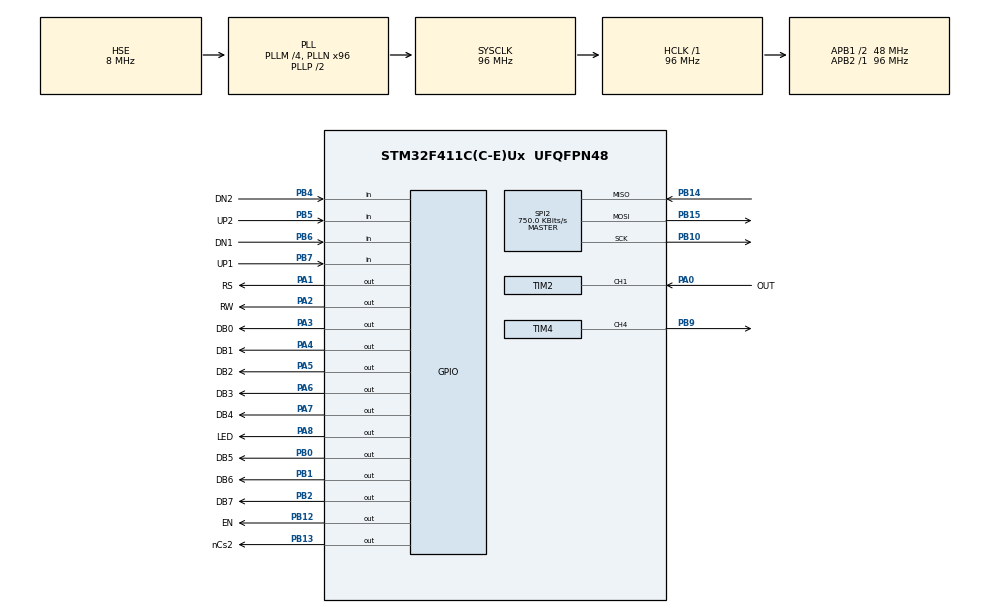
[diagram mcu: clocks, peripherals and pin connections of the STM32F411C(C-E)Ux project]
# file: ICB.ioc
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Mcu.Family=STM32F4
Mcu.Name=STM32F411C(C-E)Ux
Mcu.Package=UFQFPN48
NVIC.PriorityGroup=NVIC_PRIORITYGROUP_4
NVIC.RCC_IRQn=true\:0\:0\:false\:false\:true\:true\:false\:true
NVIC.SPI2_IRQn=true\:0\:0\:false\:false\:true\:true\:true\:true
NVIC.TIM2_IRQn=true\:0\:0\:false\:false\:true\:true\:true\:true
NVIC.TIM4_IRQn=true\:0\:0\:false\:false\:true\:true\:true\:true
PA0-WKUP.GPIO_Label=OUT
PA0-WKUP.Signal=S_TIM2_CH1_ETR
PA1.GPIO_Label=RS
PA1.Signal=GPIO_Output
PA13.Mode=Trace_Asynchronous_SW
PA13.Signal=SYS_JTMS-SWDIO
PA14.Mode=Trace_Asynchronous_SW
PA14.Signal=SYS_JTCK-SWCLK
PA2.GPIO_Label=RW
PA2.Signal=GPIO_Output
PA3.GPIO_Label=DB0
PA3.Signal=GPIO_Output
PA4.GPIO_Label=DB1
PA4.Signal=GPIO_Output
PA5.GPIO_Label=DB2
PA5.Signal=GPIO_Output
PA6.GPIO_Label=DB3
PA6.Signal=GPIO_Output
PA7.GPIO_Label=DB4
PA7.Signal=GPIO_Output
PA8.GPIO_Label=LED
PA8.Signal=GPIO_Output
PB0.GPIO_Label=DB5
PB0.Signal=GPIO_Output
PB1.GPIO_Label=DB6
PB1.Signal=GPIO_Output
PB10.Mode=Full_Duplex_Master
PB10.Signal=SPI2_SCK
PB12.GPIO_Label=EN
PB12.GPIO_Speed=GPIO_SPEED_FREQ_MEDIUM
PB12.PinState=GPIO_PIN_RESET
PB12.Signal=GPIO_Output
PB13.GPIO_Label=nCs2
PB13.PinState=GPIO_PIN_SET
PB13.Signal=GPIO_Output
PB14.Mode=Full_Duplex_Master
PB14.Signal=SPI2_MISO
PB15.Mode=Full_Duplex_Master
PB15.Signal=SPI2_MOSI
PB2.GPIO_Label=DB7
PB2.Signal=GPIO_Output
PB3.Mode=Trace_Asynchronous_SW
PB3.Signal=SYS_JTDO-SWO
PB4.GPIO_Label=DN2
PB4.Signal=GPIO_Input
PB5.GPIO_Label=UP2
PB5.Signal=GPIO_Input
PB6.GPIO_Label=DN1
PB6.Signal=GPIO_Input
PB7.GPIO_Label=UP1
PB7.Signal=GPIO_Input
PB9.GPIO_Speed=GPIO_SPEED_FREQ_VERY_HIGH
PB9.Signal=S_TIM4_CH4
PH0\ -\ OSC_IN.Mode=HSE-External-Oscillator
PH0\ -\ OSC_IN.Signal=RCC_OSC_IN
PH1\ -\ OSC_OUT.Mode=HSE-External-Oscillator
PH1\ -\ OSC_OUT.Signal=RCC_OSC_OUT
ProjectManager.HeapSize=0x200
ProjectManager.StackSize=0x400
ProjectManager.TargetToolchain=STM32CubeIDE
RCC.48MHZClocksFreq_Value=48000000
RCC.AHBFreq_Value=96000000
RCC.APB1CLKDivider=RCC_HCLK_DIV2
RCC.APB1Freq_Value=48000000
RCC.APB1TimFreq_Value=96000000
RCC.APB2Freq_Value=96000000
RCC.APB2TimFreq_Value=96000000
RCC.CortexFreq_Value=96000000
RCC.HCLKFreq_Value=96000000
RCC.HSE_VALUE=8000000
RCC.HSI_VALUE=16000000
RCC.LSE_VALUE=32768
RCC.PLLM=4
RCC.PLLN=96
RCC.PLLSourceVirtual=RCC_PLLSOURCE_HSE
RCC.SYSCLKFreq_VALUE=96000000
RCC.SYSCLKSource=RCC_SYSCLKSOURCE_PLLCLK
RCC.VCOOutputFreq_Value=192000000
SH.S_TIM2_CH1_ETR.0=TIM2_CH1,Input_Capture1_from_TI1
SH.S_TIM4_CH4.0=TIM4_CH4,PWM Generation4 CH4
SPI2.BaudRatePrescaler=SPI_BAUDRATEPRESCALER_64
SPI2.CLKPhase=SPI_PHASE_2EDGE
SPI2.CLKPolarity=SPI_POLARITY_HIGH
SPI2.CalculateBaudRate=750.0 KBits/s
SPI2.Direction=SPI_DIRECTION_2LINES
SPI2.Mode=SPI_MODE_MASTER
SPI2.VirtualType=VM_MASTER
TIM2.Channel-Input_Capture1_from_TI1=TIM_CHANNEL_1
TIM4.Channel-PWM\ Generation4\ CH4=TIM_CHANNEL_4
TIM4.OC4Preload_PWM=ENABLE
TIM4.Period=9999
TIM4.Prescaler=9599
TIM4.Pulse-PWM\ Generation4\ CH4=500
VP_TIM2_VS_ClockSourceINT.Mode=Internal
board=custom

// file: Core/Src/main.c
/* USER CODE BEGIN Header */
/**
  ******************************************************************************
  * @file           : main.c
  * @brief          : Main program body
  ******************************************************************************
  * @attention
  *
  * Copyright (c) 2026 STMicroelectronics.
  * All rights reserved.
  *
  * This software is licensed under terms that can be found in the LICENSE file
  * in the root directory of this software component.
  * If no LICENSE file comes with this software, it is provided AS-IS.
  *
  ******************************************************************************
  */
/* USER CODE END Header */
#include "main.h"

/* USER CODE BEGIN Includes */
#include "LCD.h"
#include <math.h>
#include <stdio.h>
/* USER CODE END Includes */

SPI_HandleTypeDef hspi2;

TIM_HandleTypeDef htim2;
TIM_HandleTypeDef htim4;

/* USER CODE BEGIN PV */
uint8_t en_sd[4] = {0x34, 0x00, 0x00, 0x01};
uint8_t V_MIN[4]    = {0b00000100, 0b00000000, 0b00000000, 0b00000100};
uint8_t V_MAX[4]    = {0b00000110, 0b00000000, 0b00000000, 0b10000000};
uint8_t PR_DIV[4]   = {0b00011000, 0b00000000, 0b00100010, 0b00000000};
uint8_t A_MAX[4]    = {0b00001100, 0b00000000, 0b00000000, 0b00100000};
uint8_t V_TAR[4] = {0b00001000,0b00000000,0b00000000,0b00100000};
uint8_t ref_con[4] = {0b00010100,0b00000000,0b00000011,0b00000010};

// +128
uint8_t V_TARU_1[2] = {0b00001000, 0b00000000};
uint8_t V_TARU_2[2] = {0b00000000, 0b10000000};

// -128
uint8_t V_TARD_1[2] = {0b00001000, 0b00000000};
uint8_t V_TARD_2[2] = {0b00001111, 0b10000000};

uint8_t V_ACT_1[4] = {0b00001001,0b00000000,0b00000000,0b00000000};
uint8_t V_ACT_R[4];

uint8_t V_old;
uint8_t count = 0;

uint8_t dir = 0;

LCD_param_t LCD = {RS_GPIO_Port,RS_Pin,EN_GPIO_Port,EN_Pin,RW_GPIO_Port,RW_Pin,DB0_GPIO_Port,DB0_Pin,
		DB1_GPIO_Port,DB1_Pin,DB2_GPIO_Port,DB2_Pin,DB3_GPIO_Port,DB3_Pin,DB4_GPIO_Port,DB4_Pin,
		DB5_GPIO_Port,DB5_Pin,DB6_GPIO_Port,DB6_Pin,DB7_GPIO_Port,DB7_Pin};

char digs[5];

uint8_t test;

uint32_t loop = 0;

volatile uint32_t val1 = 0;
volatile uint32_t val2 = 0;
volatile uint32_t pulse_width = 0;
volatile uint8_t is_rising_edge = 1;
float pulse_raw;

/* USER CODE END PV */

void SystemClock_Config(void);
static void MX_GPIO_Init(void);
static void MX_SPI2_Init(void);
static void MX_TIM4_Init(void);
static void MX_TIM2_Init(void);

int main(void)
{

  /* MCU Configuration--------------------------------------------------------*/

  /* Reset of all peripherals, Initializes the Flash interface and the Systick. */
  HAL_Init();

  /* Configure the system clock */
  SystemClock_Config();

  /* Initialize all configured peripherals */
  MX_GPIO_Init();
  MX_SPI2_Init();
  MX_TIM4_Init();
  MX_TIM2_Init();
  /* USER CODE BEGIN 2 */

  HAL_TIM_PWM_Start(&htim4, TIM_CHANNEL_4);

  /* Set V_MIN */
  HAL_GPIO_WritePin(nCs2_GPIO_Port,nCs2_Pin,GPIO_PIN_RESET);
  HAL_SPI_Transmit(&hspi2,V_MIN,4,1);
  HAL_GPIO_WritePin(nCs2_GPIO_Port,nCs2_Pin,GPIO_PIN_SET);

  /* Set V_MAX */
  HAL_GPIO_WritePin(nCs2_GPIO_Port,nCs2_Pin,GPIO_PIN_RESET);
  HAL_SPI_Transmit(&hspi2,V_MAX,4,1);
  HAL_GPIO_WritePin(nCs2_GPIO_Port,nCs2_Pin,GPIO_PIN_SET);

  /* Set PULSE_DIV / RAMP_DIV */
  HAL_GPIO_WritePin(nCs2_GPIO_Port,nCs2_Pin,GPIO_PIN_RESET);
  HAL_SPI_Transmit(&hspi2,PR_DIV,4,1);
  HAL_GPIO_WritePin(nCs2_GPIO_Port,nCs2_Pin,GPIO_PIN_SET);

  /* Set A_MAX */
  HAL_GPIO_WritePin(nCs2_GPIO_Port,nCs2_Pin,GPIO_PIN_RESET);
  HAL_SPI_Transmit(&hspi2,A_MAX,4,1);
  HAL_GPIO_WritePin(nCs2_GPIO_Port,nCs2_Pin,GPIO_PIN_SET);

  /* Set reference switch configuration and velocity mode */
  HAL_GPIO_WritePin(nCs2_GPIO_Port,nCs2_Pin,GPIO_PIN_RESET);
  HAL_SPI_Transmit(&hspi2,ref_con,4,1);
  HAL_GPIO_WritePin(nCs2_GPIO_Port,nCs2_Pin,GPIO_PIN_SET);

  /* Enable Step/Dir output */
  HAL_GPIO_WritePin(nCs2_GPIO_Port,nCs2_Pin,GPIO_PIN_RESET);
  HAL_SPI_Transmit(&hspi2,en_sd,4,1);
  HAL_GPIO_WritePin(nCs2_GPIO_Port,nCs2_Pin,GPIO_PIN_SET);

  /* Set V_TARGET */
  /*
  HAL_GPIO_WritePin(nCs2_GPIO_Port,nCs2_Pin,GPIO_PIN_RESET);
  HAL_SPI_Transmit(&hspi2,V_TAR_1,2,1);
  HAL_SPI_Transmit(&hspi2,V_TAR_2,2,1);
  HAL_GPIO_WritePin(nCs2_GPIO_Port,nCs2_Pin,GPIO_PIN_SET);
  */

HAL_GPIO_WritePin(RW_GPIO_Port,RW_Pin,GPIO_PIN_SET);

  Init(LCD);
  ClearDis(LCD);
  PutChar(LCD,'D');
  PutChar(LCD,'I');
  PutChar(LCD,'S');
  PutChar(LCD,'T');
  PutChar(LCD,'A');
  PutChar(LCD,'N');
  PutChar(LCD,'C');
  PutChar(LCD,'E');
  PutChar(LCD,':');
  PutChar(LCD,'0');
  PutChar(LCD,'0');
  PutChar(LCD,'.');
  PutChar(LCD,'0');
  PutChar(LCD,'0');
  PutChar(LCD,'i');
  PutChar(LCD,'n');
  while (count < 7) {ShiftCursor(LCD,'L'); count++;}
  count = 0;

  HAL_TIM_IC_Start_IT(&htim2, TIM_CHANNEL_1);
  /* USER CODE END 2 */

  /* Infinite loop */
  /* USER CODE BEGIN WHILE */
  while (1)
  {
	  pulse_raw = pulse_width * .0003 - 29;

	  int16_t velocity = (int16_t)(roundf(pulse_raw) * 10);
	  // Clamp to 12-bit signed range [-2047, 2047]
	  if (velocity >  2047) velocity =  2047;
	  if (velocity < -2047) velocity = -2047;

	  V_TAR[1] = 0x00;
	  V_TAR[2] = (velocity >> 8) & 0x0F;
	  V_TAR[3] = (uint8_t)(velocity & 0xFF);

	  if (V_TAR[3] != V_old){
	  HAL_GPIO_WritePin(nCs2_GPIO_Port,nCs2_Pin,GPIO_PIN_RESET);
	  HAL_SPI_Transmit(&hspi2,V_TAR,4,1);
	  HAL_GPIO_WritePin(nCs2_GPIO_Port,nCs2_Pin,GPIO_PIN_SET);
	  V_old = V_TAR[3];
	  }

	  if (loop % 10000 == 0){
		  test = (uint8_t)roundf(pulse_raw*100);
		  if(pulse_raw<1){
			  snprintf(digs,sizeof(digs),"%d",(int)roundf(pulse_raw * 100));
			  PutChar(LCD,'0');
			  PutChar(LCD,'0');
			  ShiftCursor(LCD,'R');
			  PutChar(LCD,digs[0]);
			  PutChar(LCD,digs[1]);
		  		  }
		  else if(pulse_raw<10){
		  	  snprintf(digs,sizeof(digs),"%d",(int)roundf(pulse_raw * 100));
		  	  PutChar(LCD,'0');
		  	  PutChar(LCD,digs[0]);
		  	  ShiftCursor(LCD,'R');
		  	  PutChar(LCD,digs[1]);
		  	  PutChar(LCD,digs[2]);
		  }

		  else{
			  snprintf(digs,5,"%d",(int)roundf(pulse_raw * 100));
			  PutChar(LCD,digs[0]);
			  PutChar(LCD,digs[1]);
			  ShiftCursor(LCD,'R');
			  PutChar(LCD,digs[2]);
			  PutChar(LCD,digs[3]);
		  }
		  	  while (count < 5) {ShiftCursor(LCD,'L'); count++;}
		  	  count=0;
	  }
	  loop++;

    /* USER CODE END WHILE */

  }
}

void SystemClock_Config(void)
{
  RCC_OscInitTypeDef RCC_OscInitStruct = {0};
  RCC_ClkInitTypeDef RCC_ClkInitStruct = {0};

  /** Configure the main internal regulator output voltage
  */
  __HAL_RCC_PWR_CLK_ENABLE();
  __HAL_PWR_VOLTAGESCALING_CONFIG(PWR_REGULATOR_VOLTAGE_SCALE1);

  /** Initializes the RCC Oscillators according to the specified parameters
  * in the RCC_OscInitTypeDef structure.
  */
  RCC_OscInitStruct.OscillatorType = RCC_OSCILLATORTYPE_HSE;
  RCC_OscInitStruct.HSEState = RCC_HSE_ON;
  RCC_OscInitStruct.PLL.PLLState = RCC_PLL_ON;
  RCC_OscInitStruct.PLL.PLLSource = RCC_PLLSOURCE_HSE;
  RCC_OscInitStruct.PLL.PLLM = 4;
  RCC_OscInitStruct.PLL.PLLN = 96;
  RCC_OscInitStruct.PLL.PLLP = RCC_PLLP_DIV2;
  RCC_OscInitStruct.PLL.PLLQ = 4;
  if (HAL_RCC_OscConfig(&RCC_OscInitStruct) != HAL_OK)
  {
    Error_Handler();
  }

  /** Initializes the CPU, AHB and APB buses clocks
  */
  RCC_ClkInitStruct.ClockType = RCC_CLOCKTYPE_HCLK|RCC_CLOCKTYPE_SYSCLK
                              |RCC_CLOCKTYPE_PCLK1|RCC_CLOCKTYPE_PCLK2;
  RCC_ClkInitStruct.SYSCLKSource = RCC_SYSCLKSOURCE_PLLCLK;
  RCC_ClkInitStruct.AHBCLKDivider = RCC_SYSCLK_DIV1;
  RCC_ClkInitStruct.APB1CLKDivider = RCC_HCLK_DIV2;
  RCC_ClkInitStruct.APB2CLKDivider = RCC_HCLK_DIV1;

  if (HAL_RCC_ClockConfig(&RCC_ClkInitStruct, FLASH_LATENCY_3) != HAL_OK)
  {
    Error_Handler();
  }
}

static void MX_SPI2_Init(void)
{

  /* SPI2 parameter configuration*/
  hspi2.Instance = SPI2;
  hspi2.Init.Mode = SPI_MODE_MASTER;
  hspi2.Init.Direction = SPI_DIRECTION_2LINES;
  hspi2.Init.DataSize = SPI_DATASIZE_8BIT;
  hspi2.Init.CLKPolarity = SPI_POLARITY_HIGH;
  hspi2.Init.CLKPhase = SPI_PHASE_2EDGE;
  hspi2.Init.NSS = SPI_NSS_SOFT;
  hspi2.Init.BaudRatePrescaler = SPI_BAUDRATEPRESCALER_64;
  hspi2.Init.FirstBit = SPI_FIRSTBIT_MSB;
  hspi2.Init.TIMode = SPI_TIMODE_DISABLE;
  hspi2.Init.CRCCalculation = SPI_CRCCALCULATION_DISABLE;
  hspi2.Init.CRCPolynomial = 10;
  if (HAL_SPI_Init(&hspi2) != HAL_OK)
  {
    Error_Handler();
  }

}

static void MX_TIM2_Init(void)
{

  TIM_ClockConfigTypeDef sClockSourceConfig = {0};
  TIM_MasterConfigTypeDef sMasterConfig = {0};
  TIM_IC_InitTypeDef sConfigIC = {0};

  htim2.Instance = TIM2;
  htim2.Init.Prescaler = 0;
  htim2.Init.CounterMode = TIM_COUNTERMODE_UP;
  htim2.Init.Period = 4294967295;
  htim2.Init.ClockDivision = TIM_CLOCKDIVISION_DIV1;
  htim2.Init.AutoReloadPreload = TIM_AUTORELOAD_PRELOAD_DISABLE;
  if (HAL_TIM_Base_Init(&htim2) != HAL_OK)
  {
    Error_Handler();
  }
  sClockSourceConfig.ClockSource = TIM_CLOCKSOURCE_INTERNAL;
  if (HAL_TIM_ConfigClockSource(&htim2, &sClockSourceConfig) != HAL_OK)
  {
    Error_Handler();
  }
  if (HAL_TIM_IC_Init(&htim2) != HAL_OK)
  {
    Error_Handler();
  }
  sMasterConfig.MasterOutputTrigger = TIM_TRGO_RESET;
  sMasterConfig.MasterSlaveMode = TIM_MASTERSLAVEMODE_DISABLE;
  if (HAL_TIMEx_MasterConfigSynchronization(&htim2, &sMasterConfig) != HAL_OK)
  {
    Error_Handler();
  }
  sConfigIC.ICPolarity = TIM_INPUTCHANNELPOLARITY_RISING;
  sConfigIC.ICSelection = TIM_ICSELECTION_DIRECTTI;
  sConfigIC.ICPrescaler = TIM_ICPSC_DIV1;
  sConfigIC.ICFilter = 0;
  if (HAL_TIM_IC_ConfigChannel(&htim2, &sConfigIC, TIM_CHANNEL_1) != HAL_OK)
  {
    Error_Handler();
  }

}

static void MX_TIM4_Init(void)
{

  TIM_MasterConfigTypeDef sMasterConfig = {0};
  TIM_OC_InitTypeDef sConfigOC = {0};

  htim4.Instance = TIM4;
  htim4.Init.Prescaler = 9599;
  htim4.Init.CounterMode = TIM_COUNTERMODE_UP;
  htim4.Init.Period = 9999;
  htim4.Init.ClockDivision = TIM_CLOCKDIVISION_DIV1;
  htim4.Init.AutoReloadPreload = TIM_AUTORELOAD_PRELOAD_DISABLE;
  if (HAL_TIM_PWM_Init(&htim4) != HAL_OK)
  {
    Error_Handler();
  }
  sMasterConfig.MasterOutputTrigger = TIM_TRGO_RESET;
  sMasterConfig.MasterSlaveMode = TIM_MASTERSLAVEMODE_DISABLE;
  if (HAL_TIMEx_MasterConfigSynchronization(&htim4, &sMasterConfig) != HAL_OK)
  {
    Error_Handler();
  }
  sConfigOC.OCMode = TIM_OCMODE_PWM1;
  sConfigOC.Pulse = 500;
  sConfigOC.OCPolarity = TIM_OCPOLARITY_HIGH;
  sConfigOC.OCFastMode = TIM_OCFAST_DISABLE;
  if (HAL_TIM_PWM_ConfigChannel(&htim4, &sConfigOC, TIM_CHANNEL_4) != HAL_OK)
  {
    Error_Handler();
  }
  HAL_TIM_MspPostInit(&htim4);

}

static void MX_GPIO_Init(void)
{
  GPIO_InitTypeDef GPIO_InitStruct = {0};

  /* GPIO Ports Clock Enable */
  __HAL_RCC_GPIOH_CLK_ENABLE();
  __HAL_RCC_GPIOA_CLK_ENABLE();
  __HAL_RCC_GPIOB_CLK_ENABLE();

  /*Configure GPIO pin Output Level */
  HAL_GPIO_WritePin(GPIOA, RS_Pin|RW_Pin|DB0_Pin|DB1_Pin
                          |DB2_Pin|DB3_Pin|DB4_Pin|LED_Pin, GPIO_PIN_RESET);

  /*Configure GPIO pin Output Level */
  HAL_GPIO_WritePin(GPIOB, DB5_Pin|DB6_Pin|DB7_Pin|EN_Pin, GPIO_PIN_RESET);

  /*Configure GPIO pin Output Level */
  HAL_GPIO_WritePin(nCs2_GPIO_Port, nCs2_Pin, GPIO_PIN_SET);

  /*Configure GPIO pins : RS_Pin RW_Pin DB0_Pin DB1_Pin
                           DB2_Pin DB3_Pin DB4_Pin LED_Pin */
  GPIO_InitStruct.Pin = RS_Pin|RW_Pin|DB0_Pin|DB1_Pin
                          |DB2_Pin|DB3_Pin|DB4_Pin|LED_Pin;
  GPIO_InitStruct.Mode = GPIO_MODE_OUTPUT_PP;
  GPIO_InitStruct.Pull = GPIO_NOPULL;
  GPIO_InitStruct.Speed = GPIO_SPEED_FREQ_LOW;
  HAL_GPIO_Init(GPIOA, &GPIO_InitStruct);

  /*Configure GPIO pins : DB5_Pin DB6_Pin DB7_Pin nCs2_Pin */
  GPIO_InitStruct.Pin = DB5_Pin|DB6_Pin|DB7_Pin|nCs2_Pin;
  GPIO_InitStruct.Mode = GPIO_MODE_OUTPUT_PP;
  GPIO_InitStruct.Pull = GPIO_NOPULL;
  GPIO_InitStruct.Speed = GPIO_SPEED_FREQ_LOW;
  HAL_GPIO_Init(GPIOB, &GPIO_InitStruct);

  /*Configure GPIO pin : EN_Pin */
  GPIO_InitStruct.Pin = EN_Pin;
  GPIO_InitStruct.Mode = GPIO_MODE_OUTPUT_PP;
  GPIO_InitStruct.Pull = GPIO_NOPULL;
  GPIO_InitStruct.Speed = GPIO_SPEED_FREQ_MEDIUM;
  HAL_GPIO_Init(EN_GPIO_Port, &GPIO_InitStruct);

  /*Configure GPIO pins : DN2_Pin UP2_Pin DN1_Pin UP1_Pin */
  GPIO_InitStruct.Pin = DN2_Pin|UP2_Pin|DN1_Pin|UP1_Pin;
  GPIO_InitStruct.Mode = GPIO_MODE_INPUT;
  GPIO_InitStruct.Pull = GPIO_NOPULL;
  HAL_GPIO_Init(GPIOB, &GPIO_InitStruct);

}

/* USER CODE BEGIN 4 */

void HAL_TIM_IC_CaptureCallback(TIM_HandleTypeDef *htim)
{
    if (htim->Instance != TIM2) return;  // Guard: only handle TIM2

    if (is_rising_edge) {
        // Capture rising edge timestamp
        val1 = HAL_TIM_ReadCapturedValue(htim, TIM_CHANNEL_1);

        // Switch to falling edge
        __HAL_TIM_SET_CAPTUREPOLARITY(htim, TIM_CHANNEL_1,
                                      TIM_INPUTCHANNELPOLARITY_FALLING);
        is_rising_edge = 0;

    } else {
        // Capture falling edge timestamp
        val2 = HAL_TIM_ReadCapturedValue(htim, TIM_CHANNEL_1);

        // Handle 32-bit timer overflow correctly
        if (val2 >= val1) {
            pulse_width = val2 - val1;
        } else {
            pulse_width = (0xFFFFFFFF - val1) + val2 + 1;
        }

        // Switch back to rising edge for next pulse
        __HAL_TIM_SET_CAPTUREPOLARITY(htim, TIM_CHANNEL_1,
                                      TIM_INPUTCHANNELPOLARITY_RISING);
        is_rising_edge = 1;
    }
}

/* USER CODE END 4 */

void Error_Handler(void)
{
  __disable_irq();
  while (1)
  {
  }
}
